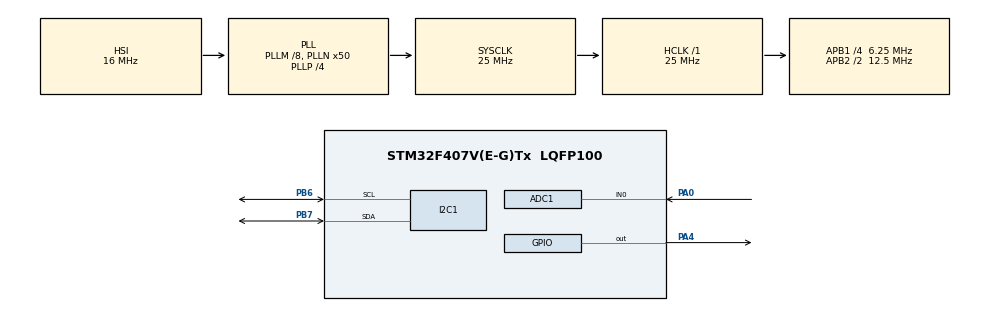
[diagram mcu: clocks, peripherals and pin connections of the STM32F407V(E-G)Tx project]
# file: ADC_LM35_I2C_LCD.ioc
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ADC1.Channel-0\#ChannelRegularConversion=ADC_CHANNEL_0
ADC1.NbrOfConversionFlag=1
ADC1.Rank-0\#ChannelRegularConversion=1
ADC1.SamplingTime-0\#ChannelRegularConversion=ADC_SAMPLETIME_3CYCLES
ADC1.master=1
Mcu.Family=STM32F4
Mcu.Name=STM32F407V(E-G)Tx
Mcu.Package=LQFP100
NVIC.ADC_IRQn=true\:0\:0\:false\:false\:true\:true\:true\:true
NVIC.PriorityGroup=NVIC_PRIORITYGROUP_0
PA0-WKUP.Signal=ADCx_IN0
PA4.Signal=GPIO_Output
PB6.Mode=I2C
PB6.Signal=I2C1_SCL
PB7.Mode=I2C
PB7.Signal=I2C1_SDA
ProjectManager.HeapSize=0x200
ProjectManager.StackSize=0x400
ProjectManager.TargetToolchain=STM32CubeIDE
RCC.48MHZClocksFreq_Value=14285714.285714285
RCC.AHBFreq_Value=25000000
RCC.APB1CLKDivider=RCC_HCLK_DIV4
RCC.APB1Freq_Value=6250000
RCC.APB1TimFreq_Value=12500000
RCC.APB2CLKDivider=RCC_HCLK_DIV2
RCC.APB2Freq_Value=12500000
RCC.APB2TimFreq_Value=25000000
RCC.CortexFreq_Value=25000000
RCC.HCLKFreq_Value=25000000
RCC.HSE_VALUE=8000000
RCC.HSI_VALUE=16000000
RCC.LSE_VALUE=32768
RCC.PLLM=8
RCC.PLLN=50
RCC.PLLP=RCC_PLLP_DIV4
RCC.PLLQ=7
RCC.SYSCLKFreq_VALUE=25000000
RCC.SYSCLKSource=RCC_SYSCLKSOURCE_PLLCLK
RCC.VCOOutputFreq_Value=100000000
SH.ADCx_IN0.0=ADC1_IN0,IN0
board=STM32F407G-DISC1

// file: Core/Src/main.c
/* USER CODE BEGIN Header */
/**
  ******************************************************************************
  * @file           : main.c
  * @brief          : Main program body
  ******************************************************************************
  * @attention
  *
  * Copyright (c) 2023 STMicroelectronics.
  * All rights reserved.
  *
  * This software is licensed under terms that can be found in the LICENSE file
  * in the root directory of this software component.
  * If no LICENSE file comes with this software, it is provided AS-IS.
  *
  ******************************************************************************
  */
/* USER CODE END Header */
#include "main.h"

/* USER CODE BEGIN Includes */
#include "lcd.h"
#include<string.h>
#include <stdio.h>
/* USER CODE END Includes */

ADC_HandleTypeDef hadc1;

I2C_HandleTypeDef hi2c1;

void SystemClock_Config(void);
static void MX_GPIO_Init(void);
static void MX_ADC1_Init(void);
static void MX_I2C1_Init(void);

/* USER CODE BEGIN 0 */
// adc_value variable store the adc value,
  // temp variable store the temperature value
  int adc_value, temp;
  // store the converted voltage value
  // from analog value
  float voltage;
  // temp_str store the integer to string
  // temperature convertion
  char temp_str[20];

/* USER CODE END 0 */

int main(void)
{

  /* MCU Configuration--------------------------------------------------------*/

  /* Reset of all peripherals, Initializes the Flash interface and the Systick. */
  HAL_Init();

  /* USER CODE BEGIN Init */
  lcd_init();
  /* USER CODE END Init */

  /* Configure the system clock */
  SystemClock_Config();

  /* Initialize all configured peripherals */
  MX_GPIO_Init();
  MX_ADC1_Init();
  MX_I2C1_Init();
  /* USER CODE BEGIN 2 */
  lcd_clear();

  /* USER CODE END 2 */

  /* Infinite loop */
  /* USER CODE BEGIN WHILE */
  while (1)
  {
	  // start ADC convertion
	  	  HAL_ADC_Start(&hadc1);
	  	  // ADC poll for conversion
	  	  HAL_ADC_PollForConversion(&hadc1, 100);
	  	  // get the ADC conversion value
	  	  adc_value = HAL_ADC_GetValue(&hadc1);
	  	  // end ADC convertion
	  	  HAL_ADC_Stop(&hadc1);
	  	  // convert ADC value into voltage
	  	  voltage = (adc_value*3.3)/4096;
	  	  // convert the voltage into temperature
	  	  temp = voltage*100;
	  	  //convert the integer value to string,
	  	  //to display in the LCD
	  	  sprintf(temp_str,"%d\n", temp);
	  	  // LCD cursor point at row 0 column 0

	  	  lcd_put_cur(0, 0);
	  	  // just a random string display into LCD
	  	  lcd_send_string("Temperature: ");
	  	  // LCD cursor point at row 1 column 0
	  	  lcd_put_cur(1, 0);
	  	  // print the temperature value to LCD display
	  	  lcd_send_string(temp_str);
	  	  // LCD cursor point at row 1 column 2
	  	  lcd_put_cur(1, 2);
	  	  // print the (degree) sign into LCD
	  	  lcd_send_data(0xDF);
	  	  // LCD cursor point at row 1 column 3
	  	  lcd_put_cur(1, 3);
	  	  // print the (Celsius) sign into LCD
	  	  lcd_send_data('C');
    /* USER CODE END WHILE */

  }
}

void SystemClock_Config(void)
{
  RCC_OscInitTypeDef RCC_OscInitStruct = {0};
  RCC_ClkInitTypeDef RCC_ClkInitStruct = {0};

  /** Configure the main internal regulator output voltage
  */
  __HAL_RCC_PWR_CLK_ENABLE();
  __HAL_PWR_VOLTAGESCALING_CONFIG(PWR_REGULATOR_VOLTAGE_SCALE1);

  /** Initializes the RCC Oscillators according to the specified parameters
  * in the RCC_OscInitTypeDef structure.
  */
  RCC_OscInitStruct.OscillatorType = RCC_OSCILLATORTYPE_HSI;
  RCC_OscInitStruct.HSIState = RCC_HSI_ON;
  RCC_OscInitStruct.HSICalibrationValue = RCC_HSICALIBRATION_DEFAULT;
  RCC_OscInitStruct.PLL.PLLState = RCC_PLL_ON;
  RCC_OscInitStruct.PLL.PLLSource = RCC_PLLSOURCE_HSI;
  RCC_OscInitStruct.PLL.PLLM = 8;
  RCC_OscInitStruct.PLL.PLLN = 50;
  RCC_OscInitStruct.PLL.PLLP = RCC_PLLP_DIV4;
  RCC_OscInitStruct.PLL.PLLQ = 7;
  if (HAL_RCC_OscConfig(&RCC_OscInitStruct) != HAL_OK)
  {
    Error_Handler();
  }

  /** Initializes the CPU, AHB and APB buses clocks
  */
  RCC_ClkInitStruct.ClockType = RCC_CLOCKTYPE_HCLK|RCC_CLOCKTYPE_SYSCLK
                              |RCC_CLOCKTYPE_PCLK1|RCC_CLOCKTYPE_PCLK2;
  RCC_ClkInitStruct.SYSCLKSource = RCC_SYSCLKSOURCE_PLLCLK;
  RCC_ClkInitStruct.AHBCLKDivider = RCC_SYSCLK_DIV1;
  RCC_ClkInitStruct.APB1CLKDivider = RCC_HCLK_DIV4;
  RCC_ClkInitStruct.APB2CLKDivider = RCC_HCLK_DIV2;

  if (HAL_RCC_ClockConfig(&RCC_ClkInitStruct, FLASH_LATENCY_0) != HAL_OK)
  {
    Error_Handler();
  }
}

static void MX_ADC1_Init(void)
{

  ADC_ChannelConfTypeDef sConfig = {0};

  /** Configure the global features of the ADC (Clock, Resolution, Data Alignment and number of conversion)
  */
  hadc1.Instance = ADC1;
  hadc1.Init.ClockPrescaler = ADC_CLOCK_SYNC_PCLK_DIV2;
  hadc1.Init.Resolution = ADC_RESOLUTION_12B;
  hadc1.Init.ScanConvMode = DISABLE;
  hadc1.Init.ContinuousConvMode = DISABLE;
  hadc1.Init.DiscontinuousConvMode = DISABLE;
  hadc1.Init.ExternalTrigConvEdge = ADC_EXTERNALTRIGCONVEDGE_NONE;
  hadc1.Init.ExternalTrigConv = ADC_SOFTWARE_START;
  hadc1.Init.DataAlign = ADC_DATAALIGN_RIGHT;
  hadc1.Init.NbrOfConversion = 1;
  hadc1.Init.DMAContinuousRequests = DISABLE;
  hadc1.Init.EOCSelection = ADC_EOC_SINGLE_CONV;
  if (HAL_ADC_Init(&hadc1) != HAL_OK)
  {
    Error_Handler();
  }

  /** Configure for the selected ADC regular channel its corresponding rank in the sequencer and its sample time.
  */
  sConfig.Channel = ADC_CHANNEL_0;
  sConfig.Rank = 1;
  sConfig.SamplingTime = ADC_SAMPLETIME_3CYCLES;
  if (HAL_ADC_ConfigChannel(&hadc1, &sConfig) != HAL_OK)
  {
    Error_Handler();
  }

}

static void MX_I2C1_Init(void)
{

  hi2c1.Instance = I2C1;
  hi2c1.Init.ClockSpeed = 100000;
  hi2c1.Init.DutyCycle = I2C_DUTYCYCLE_2;
  hi2c1.Init.OwnAddress1 = 0;
  hi2c1.Init.AddressingMode = I2C_ADDRESSINGMODE_7BIT;
  hi2c1.Init.DualAddressMode = I2C_DUALADDRESS_DISABLE;
  hi2c1.Init.OwnAddress2 = 0;
  hi2c1.Init.GeneralCallMode = I2C_GENERALCALL_DISABLE;
  hi2c1.Init.NoStretchMode = I2C_NOSTRETCH_DISABLE;
  if (HAL_I2C_Init(&hi2c1) != HAL_OK)
  {
    Error_Handler();
  }

}

static void MX_GPIO_Init(void)
{
  GPIO_InitTypeDef GPIO_InitStruct = {0};

  /* GPIO Ports Clock Enable */
  __HAL_RCC_GPIOA_CLK_ENABLE();
  __HAL_RCC_GPIOB_CLK_ENABLE();

  /*Configure GPIO pin Output Level */
  HAL_GPIO_WritePin(GPIOA, GPIO_PIN_4, GPIO_PIN_RESET);

  /*Configure GPIO pin : PA4 */
  GPIO_InitStruct.Pin = GPIO_PIN_4;
  GPIO_InitStruct.Mode = GPIO_MODE_OUTPUT_PP;
  GPIO_InitStruct.Pull = GPIO_NOPULL;
  GPIO_InitStruct.Speed = GPIO_SPEED_FREQ_LOW;
  HAL_GPIO_Init(GPIOA, &GPIO_InitStruct);

}

void Error_Handler(void)
{
  __disable_irq();
  while (1)
  {
  }
}
